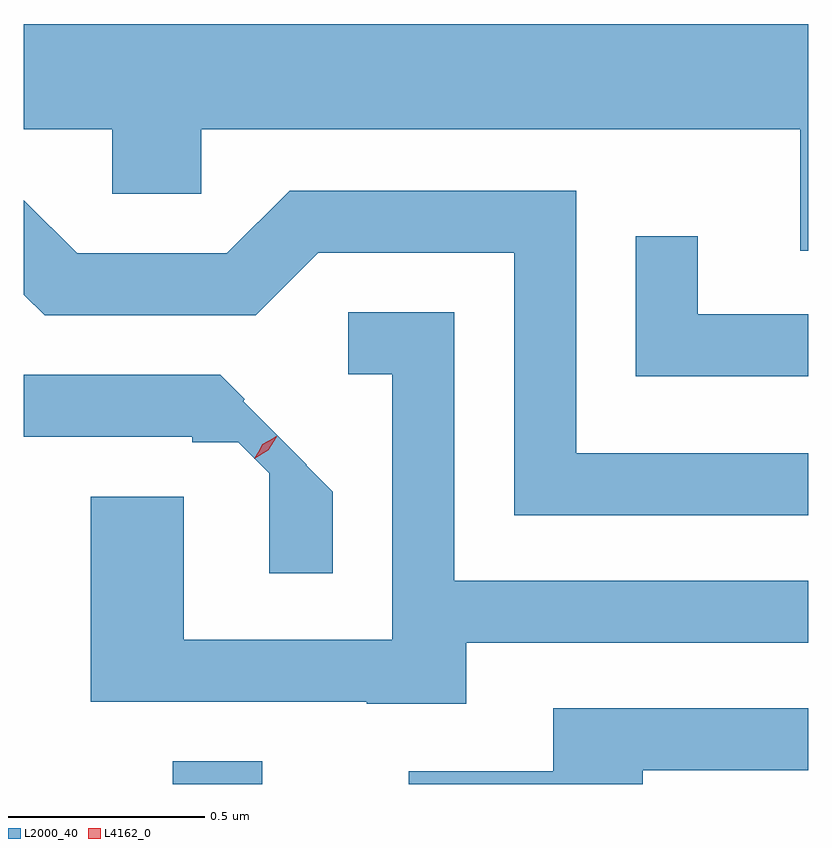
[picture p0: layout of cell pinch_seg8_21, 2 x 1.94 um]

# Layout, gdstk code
import gdstk
lib = gdstk.Library(unit=1e-6, precision=1e-09)
def R(c, l, rs):  # rectangles x0, y0, x1, y1
    for r in rs: c.add(gdstk.rectangle(r[:2], r[2:], *l))
def P(c, l, *ps):  # polygons
    for p in ps: c.add(gdstk.Polygon(p, *l))
L2000_40 = (2000, 40)
L4162_0 = (4162, 0)

pinch_seg8_21 = lib.new_cell('pinch_seg8_21')
R(pinch_seg8_21, L2000_40, [(1767.411,1868.046,1767.639,1868.104)])
P(pinch_seg8_21, L2000_40, [(1769.031,1869.984),(1767.031,1869.984),(1767.031,1869.716),(1767.256,1869.716),(1767.256,1869.551),(1767.484,1869.551),(1767.484,1869.716),(1769.011,1869.716),(1769.011,1869.406),(1769.031,1869.406)],
  [(1769.031,1868.889),(1768.439,1868.889),(1768.439,1869.559),(1767.709,1869.559),(1767.549,1869.399),(1767.167,1869.399),(1767.031,1869.535),(1767.031,1869.294),(1767.084,1869.241),(1767.622,1869.241),(1767.782,1869.401),(1768.281,1869.401),(1768.281,1868.731),(1769.031,1868.731)],
  [(1769.031,1869.244),(1768.749,1869.244),(1768.749,1869.443),(1768.591,1869.443),(1768.591,1869.086),(1769.031,1869.086)],
  [(1768.159,1868.406),(1769.031,1868.406),(1769.031,1868.564),(1768.129,1868.564),(1768.129,1869.249),(1767.858,1869.249),(1767.858,1869.091),(1767.971,1869.091),(1767.971,1868.414),(1767.439,1868.414),(1767.439,1868.779),(1767.201,1868.779),(1767.201,1868.256),(1767.905,1868.256),(1767.905,1868.251),(1768.159,1868.251)],
  [(1767.819,1868.791),(1767.751,1868.859),(1767.752,1868.86),(1767.59,1869.022),(1767.594,1869.027),(1767.532,1869.089),(1767.031,1869.089),(1767.031,1868.931),(1767.46,1868.931),(1767.46,1868.918),(1767.578,1868.918),(1767.657,1868.839),(1767.657,1868.583),(1767.819,1868.583)],
  [(1768.609,1868.081),(1769.031,1868.081),(1769.031,1868.239),(1768.381,1868.239),(1768.381,1868.079),(1768.013,1868.079),(1768.013,1868.046),(1768.609,1868.046)])
P(pinch_seg8_21, L4162_0, [(1767.619,1868.876),(1767.619,1868.876),(1767.64,1868.911),(1767.675,1868.933),(1767.676,1868.933),(1767.676,1868.932),(1767.654,1868.897),(1767.619,1868.876)],
  [(1767.623,1868.881),(1767.623,1868.881),(1767.639,1868.912),(1767.669,1868.929),(1767.67,1868.929),(1767.67,1868.928),(1767.654,1868.898),(1767.624,1868.881)])

lib.write_gds('pinch_seg8_21.gds')
